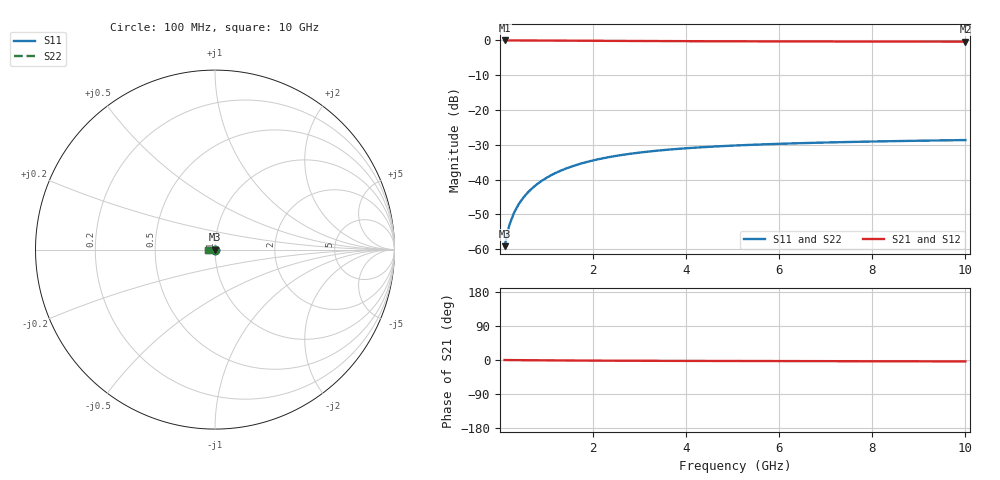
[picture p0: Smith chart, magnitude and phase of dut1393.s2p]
! Touchstone file exported from HFSS 2024.1.0
!  File:  C:/UserFiles/LocalFiles/RDL_TSV_Batchsim/temp_TSV1_1393_1780381527.aedt
!  Generated:  02:31:53 PM Jun  2, 2026
!  Design:  TSV1
!  Project:  temp_TSV1_1393_1780381527
!  Setup:  Setup1
!  Solution:  Sweep
! Variables:
!  dtsv = 13.53um
!  hbump = 3um
!  htsv = 54.19um
!  lrdl = 252.1521522um
!  p = 40
!  p1 = 54.98um
!  t = 500um
!  trdl = 3um
!  wrdl = 24.89489489um
# GHz S MA R 50.000000
! Terminal data exported
! Port[1] = TSV22_T1
! Port[2] = TSV22_T2
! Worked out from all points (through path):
!   100 points, 100 MHz to 10 GHz, reference 50 ohm
!   highest |S21| = 0.00 dB at 100 MHz (marker M1); lowest = -0.3 dB at 10 GHz (marker M2)
!   lowest |S11| = -59.2 dB at 100 MHz (marker M3), VSWR 1.00, Z = 50 - j0.11 ohm
!   |S11| at or under -10 dB: start of sweep to end of sweep
!   |S22| runs from -59.2 to -28.7 dB; largest |S21 - S12| = 1e-14
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0.1  0.001101 -88.3  0.9999 -0.1  0.9999 -0.1  0.001101 -88.3
! Gamma 0 0 0 0
! Port Impedance 50 0 50 0
0.2  0.002199 -91.9  0.9998 -0.2  0.9998 -0.2  0.002199 -91.9
0.3  0.003297 -94.3  0.9996 -0.3  0.9996 -0.3  0.003297 -94.3
0.4  0.004387 -96.4  0.9993 -0.4  0.9993 -0.4  0.004387 -96.4
0.5  0.005467 -98.5  0.999 -0.5  0.999 -0.5  0.005467 -98.5
0.6  0.006532 -100.5  0.9986 -0.6  0.9986 -0.6  0.006532 -100.5
0.7  0.007579 -102.5  0.9981 -0.7  0.9981 -0.7  0.007579 -102.5
0.8  0.008605 -104.4  0.9976 -0.8  0.9976 -0.8  0.008605 -104.4
0.9  0.009608 -106.2  0.997 -0.9  0.997 -0.9  0.009608 -106.2
1.1  0.01154 -109.8  0.9958 -1.0  0.9958 -1.0  0.01154 -109.8
1.4  0.01423 -114.9  0.9938 -1.2  0.9938 -1.2  0.01423 -114.9
1.6  0.01588 -118.1  0.9923 -1.4  0.9923 -1.4  0.01588 -118.1
1.8  0.01741 -121.1  0.9908 -1.5  0.9908 -1.5  0.01741 -121.1
2.1  0.01949 -125.4  0.9885 -1.7  0.9885 -1.7  0.01949 -125.4
2.5  0.02191 -130.5  0.9856 -1.9  0.9856 -1.9  0.02191 -130.5
2.9  0.02396 -135.1  0.9828 -2.0  0.9828 -2.0  0.02396 -135.1
3.4  0.02609 -140.2  0.9797 -2.2  0.9797 -2.2  0.02609 -140.2
4.2  0.02875 -147.1  0.9756 -2.4  0.9756 -2.4  0.02875 -147.1
5.1  0.03096 -153.4  0.972 -2.6  0.972 -2.6  0.03096 -153.4
6.7  0.03367 -162.4  0.9674 -3.0  0.9674 -3.0  0.03367 -162.4
8.4  0.03559 -169.8  0.9642 -3.4  0.9642 -3.4  0.03559 -169.8
10  0.03693 -175.6  0.9622 -3.7  0.9622 -3.7  0.03693 -175.6
